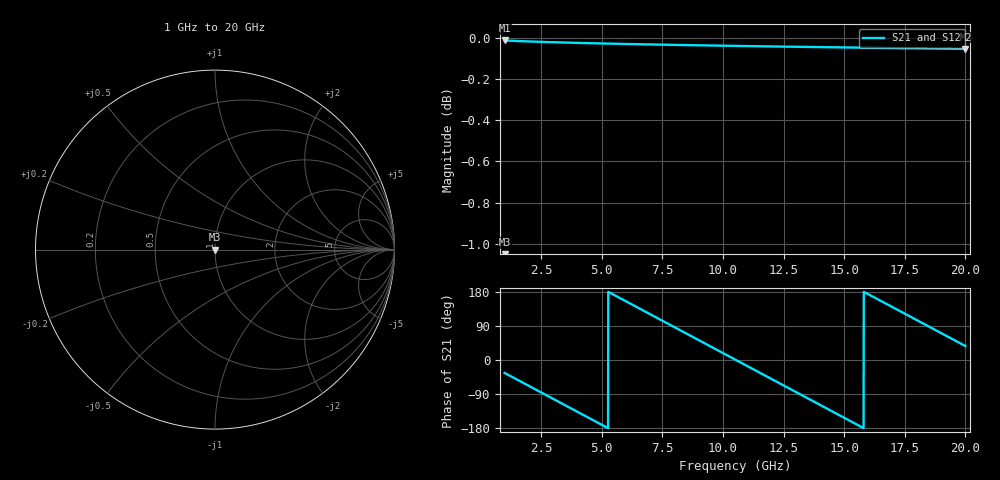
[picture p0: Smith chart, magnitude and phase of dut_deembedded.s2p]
# ghz S RI R 50.0
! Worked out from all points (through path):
!   2001 points, 1 GHz to 20 GHz, reference 50 ohm
!   highest |S21| = -0.01 dB at 1 GHz (marker M1); lowest = -0.1 dB at 20 GHz (marker M2)
!   group delay of S21, straight-line fit = 94.9 ps
!   lowest |S11| = - dB at 1 GHz (marker M3), VSWR 1.00, Z = 50 - j2.51e-14 ohm
!   |S11| at or under -10 dB: start of sweep to end of sweep
!   |S22| runs from - to - dB; largest |S21 - S12| = 1e-12
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1  2.99e-16 -2.51e-16  0.8264 -0.5607  0.8264 -0.5607  -5.65e-17 -1.82e-16
1.8645  -6.7e-16 -2.39e-16  0.4424 -0.8947  0.4424 -0.8947  2.73e-16 4.21e-17
2.6055  -1.45e-16 -4.04e-16  0.0174 -0.9977  0.0174 -0.9977  -8.2e-16 1.74e-15
3.356  1.02e-18 -1.22e-16  -0.4159 -0.9067  -0.4159 -0.9067  7.66e-17 2.58e-17
4.173  1.55e-16 7.08e-17  -0.7917 -0.6064  -0.7917 -0.6064  1.76e-16 4.33e-17
4.9425  -4.25e-16 -1.33e-16  -0.9781 -0.1931  -0.9781 -0.1931  2.56e-16 -1.54e-16
5.6835  -1.07e-16 2.54e-16  -0.9665 0.2436  -0.9665 0.2436  -7.37e-17 -6.61e-17
7.3365  -7.87e-16 -1.27e-15  -0.3308 0.9398  -0.3308 0.9398  2.54e-17 7.71e-16
8.049  -1.06e-16 -1.86e-17  0.0859 0.9924  0.0859 0.9924  -1.17e-16 1.01e-17
8.7615  7.82e-16 1.49e-15  0.4872 0.8687  0.4872 0.8687  1.88e-16 6.87e-16
9.6735  -6.21e-17 -1.15e-16  0.8662 0.4912  0.8662 0.4912  2.05e-17 -3.61e-17
10.5  7.44e-18 -3.21e-16  0.9953 0.0231  0.9953 0.0231  -1.76e-18 7.6e-17
11.336  -1.2e-16 -4.74e-16  0.8851 -0.4555  0.8851 -0.4555  9.17e-17 1.78e-16
12.2575  -2.81e-16 2.33e-17  0.5169 -0.8505  0.5169 -0.8505  -1.54e-16 -1.58e-16
13.673  -2.6e-16 1.66e-16  -0.2919 -0.9512  -0.2919 -0.9512  -2.2e-16 1.54e-16
15.3355  2.63e-16 -3.12e-16  -0.9554 -0.2767  -0.9554 -0.2767  2.69e-16 6.35e-17
16.0765  5.52e-17 -3.51e-16  -0.9819 0.1584  -0.9819 0.1584  2.02e-16 -1.37e-16
16.8365  -5.14e-16 -5.39e-16  -0.8134 0.5721  -0.8134 0.5721  -2.21e-16 -6.99e-16
17.6535  1.73e-15 1.39e-16  -0.4509 0.8862  -0.4509 0.8862  1.69e-15 4.28e-16
18.4135  9.86e-17 -3.09e-16  -0.0175 0.994  -0.0175 0.994  -9.54e-17 1.29e-16
19.1545  -7.79e-17 9.57e-17  0.4092 0.906  0.4092 0.906  -1.01e-16 4.54e-17
20  5.17e-16 4.64e-17  0.7957 0.5956  0.7957 0.5956  3.44e-16 -9.14e-17
